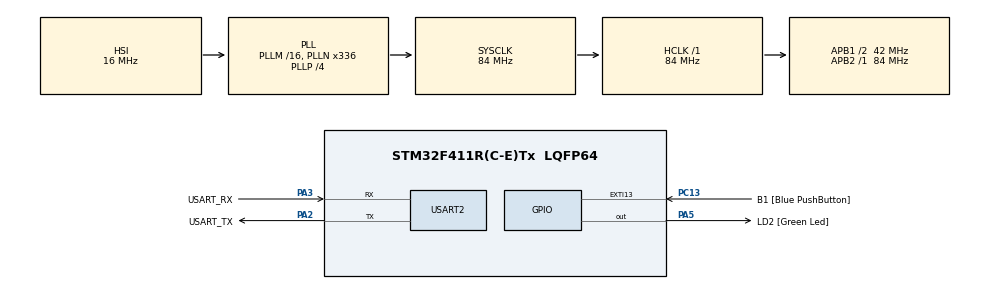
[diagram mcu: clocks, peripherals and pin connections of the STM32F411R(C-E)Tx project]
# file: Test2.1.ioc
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Mcu.Family=STM32F4
Mcu.Name=STM32F411R(C-E)Tx
Mcu.Package=LQFP64
NVIC.PriorityGroup=NVIC_PRIORITYGROUP_0
NVIC.USART2_IRQn=true\:0\:0\:false\:false\:true\:true\:true\:true
PA13.GPIO_Label=TMS
PA13.Mode=Serial_Wire
PA13.Signal=SYS_JTMS-SWDIO
PA14.GPIO_Label=TCK
PA14.Mode=Serial_Wire
PA14.Signal=SYS_JTCK-SWCLK
PA2.GPIO_Label=USART_TX
PA2.Mode=Asynchronous
PA2.Signal=USART2_TX
PA3.GPIO_Label=USART_RX
PA3.Mode=Asynchronous
PA3.Signal=USART2_RX
PA5.GPIO_Label=LD2 [Green Led]
PA5.Signal=GPIO_Output
PB3.GPIO_Label=SWO
PB3.Signal=SYS_JTDO-SWO
PC13-ANTI_TAMP.GPIO_Label=B1 [Blue PushButton]
PC13-ANTI_TAMP.GPIO_ModeDefaultEXTI=GPIO_MODE_IT_FALLING
PC13-ANTI_TAMP.Signal=GPXTI13
PC14-OSC32_IN.Mode=LSE-External-Oscillator
PC14-OSC32_IN.Signal=RCC_OSC32_IN
PC15-OSC32_OUT.Mode=LSE-External-Oscillator
PC15-OSC32_OUT.Signal=RCC_OSC32_OUT
PH0\ -\ OSC_IN.Mode=HSE-External-Clock-Source
PH0\ -\ OSC_IN.Signal=RCC_OSC_IN
PH1\ -\ OSC_OUT.Mode=HSE-External-Clock-Source
PH1\ -\ OSC_OUT.Signal=RCC_OSC_OUT
ProjectManager.HeapSize=0x200
ProjectManager.StackSize=0x400
ProjectManager.TargetToolchain=STM32CubeIDE
RCC.48MHZClocksFreq_Value=84000000
RCC.AHBFreq_Value=84000000
RCC.APB1CLKDivider=RCC_HCLK_DIV2
RCC.APB1Freq_Value=42000000
RCC.APB1TimFreq_Value=84000000
RCC.APB2Freq_Value=84000000
RCC.APB2TimFreq_Value=84000000
RCC.CortexFreq_Value=84000000
RCC.FLatency-AdvancedSettings=FLASH_LATENCY_2
RCC.HCLKFreq_Value=84000000
RCC.HSE_VALUE=8000000
RCC.HSI_VALUE=16000000
RCC.PLLN=336
RCC.PLLP=RCC_PLLP_DIV4
RCC.SYSCLKFreq_VALUE=84000000
RCC.SYSCLKSource=RCC_SYSCLKSOURCE_PLLCLK
RCC.VCOOutputFreq_Value=336000000
USART2.VirtualMode=VM_ASYNC
board=NUCLEO-F411RE

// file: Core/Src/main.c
/* USER CODE BEGIN Header */
/**
  ******************************************************************************
  * @file           : main.c
  * @brief          : Main program body
  ******************************************************************************
  * @attention
  *
  * Copyright (c) 2023 STMicroelectronics.
  * All rights reserved.
  *
  * This software is licensed under terms that can be found in the LICENSE file
  * in the root directory of this software component.
  * If no LICENSE file comes with this software, it is provided AS-IS.
  *
  ******************************************************************************
  */
/* USER CODE END Header */
#include "main.h"

UART_HandleTypeDef huart2;

void SystemClock_Config(void);
static void MX_GPIO_Init(void);
static void MX_USART2_UART_Init(void);

/* USER CODE BEGIN 0 */
char Rx_data[32];
char buffer;
int c = 0; // frame pointer

void printReverse(){
	while(c >= 0){
		HAL_UART_Transmit(&huart2, &Rx_data[c], 1, 10);
		c--;
	}
	c = 0;
}

void HAL_UART_RxCpltCallback(UART_HandleTypeDef *huart){
	if (buffer == '\n' || buffer == '\r'){
		printReverse();
	} else {
		Rx_data[c] = buffer;
		c++;
		HAL_UART_Transmit(&huart2, &buffer, 1, 10);
	}
	HAL_UART_Receive_IT(&huart2, &buffer, 1);
}

/* USER CODE END 0 */

int main(void)
{

  /* MCU Configuration--------------------------------------------------------*/

  /* Reset of all peripherals, Initializes the Flash interface and the Systick. */
  HAL_Init();

  /* Configure the system clock */
  SystemClock_Config();

  /* Initialize all configured peripherals */
  MX_GPIO_Init();
  MX_USART2_UART_Init();
  /* USER CODE BEGIN 2 */
  HAL_UART_Receive_IT(&huart2, &buffer, 1);
  /* USER CODE END 2 */

  /* Infinite loop */
  /* USER CODE BEGIN WHILE */
  while (1)
  {
	  HAL_GPIO_TogglePin(GPIOA, GPIO_PIN_5);
	  HAL_Delay(100);
    /* USER CODE END WHILE */

  }
}

void SystemClock_Config(void)
{
  RCC_OscInitTypeDef RCC_OscInitStruct = {0};
  RCC_ClkInitTypeDef RCC_ClkInitStruct = {0};

  /** Configure the main internal regulator output voltage
  */
  __HAL_RCC_PWR_CLK_ENABLE();
  __HAL_PWR_VOLTAGESCALING_CONFIG(PWR_REGULATOR_VOLTAGE_SCALE1);

  /** Initializes the RCC Oscillators according to the specified parameters
  * in the RCC_OscInitTypeDef structure.
  */
  RCC_OscInitStruct.OscillatorType = RCC_OSCILLATORTYPE_HSI;
  RCC_OscInitStruct.HSIState = RCC_HSI_ON;
  RCC_OscInitStruct.HSICalibrationValue = RCC_HSICALIBRATION_DEFAULT;
  RCC_OscInitStruct.PLL.PLLState = RCC_PLL_ON;
  RCC_OscInitStruct.PLL.PLLSource = RCC_PLLSOURCE_HSI;
  RCC_OscInitStruct.PLL.PLLM = 16;
  RCC_OscInitStruct.PLL.PLLN = 336;
  RCC_OscInitStruct.PLL.PLLP = RCC_PLLP_DIV4;
  RCC_OscInitStruct.PLL.PLLQ = 4;
  if (HAL_RCC_OscConfig(&RCC_OscInitStruct) != HAL_OK)
  {
    Error_Handler();
  }

  /** Initializes the CPU, AHB and APB buses clocks
  */
  RCC_ClkInitStruct.ClockType = RCC_CLOCKTYPE_HCLK|RCC_CLOCKTYPE_SYSCLK
                              |RCC_CLOCKTYPE_PCLK1|RCC_CLOCKTYPE_PCLK2;
  RCC_ClkInitStruct.SYSCLKSource = RCC_SYSCLKSOURCE_PLLCLK;
  RCC_ClkInitStruct.AHBCLKDivider = RCC_SYSCLK_DIV1;
  RCC_ClkInitStruct.APB1CLKDivider = RCC_HCLK_DIV2;
  RCC_ClkInitStruct.APB2CLKDivider = RCC_HCLK_DIV1;

  if (HAL_RCC_ClockConfig(&RCC_ClkInitStruct, FLASH_LATENCY_2) != HAL_OK)
  {
    Error_Handler();
  }
}

static void MX_USART2_UART_Init(void)
{

  huart2.Instance = USART2;
  huart2.Init.BaudRate = 115200;
  huart2.Init.WordLength = UART_WORDLENGTH_8B;
  huart2.Init.StopBits = UART_STOPBITS_1;
  huart2.Init.Parity = UART_PARITY_NONE;
  huart2.Init.Mode = UART_MODE_TX_RX;
  huart2.Init.HwFlowCtl = UART_HWCONTROL_NONE;
  huart2.Init.OverSampling = UART_OVERSAMPLING_16;
  if (HAL_UART_Init(&huart2) != HAL_OK)
  {
    Error_Handler();
  }

}

static void MX_GPIO_Init(void)
{
  GPIO_InitTypeDef GPIO_InitStruct = {0};

  /* GPIO Ports Clock Enable */
  __HAL_RCC_GPIOC_CLK_ENABLE();
  __HAL_RCC_GPIOH_CLK_ENABLE();
  __HAL_RCC_GPIOA_CLK_ENABLE();
  __HAL_RCC_GPIOB_CLK_ENABLE();

  /*Configure GPIO pin Output Level */
  HAL_GPIO_WritePin(LD2_GPIO_Port, LD2_Pin, GPIO_PIN_RESET);

  /*Configure GPIO pin : B1_Pin */
  GPIO_InitStruct.Pin = B1_Pin;
  GPIO_InitStruct.Mode = GPIO_MODE_IT_FALLING;
  GPIO_InitStruct.Pull = GPIO_NOPULL;
  HAL_GPIO_Init(B1_GPIO_Port, &GPIO_InitStruct);

  /*Configure GPIO pin : LD2_Pin */
  GPIO_InitStruct.Pin = LD2_Pin;
  GPIO_InitStruct.Mode = GPIO_MODE_OUTPUT_PP;
  GPIO_InitStruct.Pull = GPIO_NOPULL;
  GPIO_InitStruct.Speed = GPIO_SPEED_FREQ_LOW;
  HAL_GPIO_Init(LD2_GPIO_Port, &GPIO_InitStruct);

}

void Error_Handler(void)
{
  __disable_irq();
  while (1)
  {
  }
}
